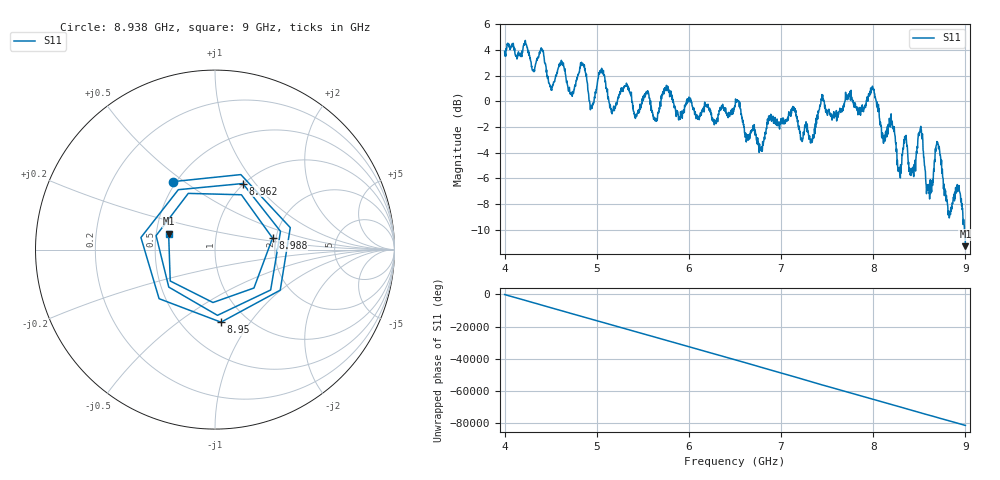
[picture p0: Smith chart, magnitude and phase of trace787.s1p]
! Created with skrf 1.8.0 (http://scikit-rf.org).
# Hz S RI R 50.0
!freq ReS11 ImS11
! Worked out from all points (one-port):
!   1601 points, 4 GHz to 9 GHz, reference 50 ohm
!   lowest |S11| = -11.3 dB at 9 GHz (marker M1), VSWR 1.75, Z = 29.1 + j5.55 ohm
!   |S11| at or under -10 dB: 8.989426 GHz to end of sweep
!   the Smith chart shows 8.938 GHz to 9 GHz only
!   S11 on the Smith chart (normalised r, x): 8.938 GHz: 0.48, +0.46; 8.95 GHz: 0.76, -0.74; 8.962 GHz: 0.99, +0.87; 8.988 GHz: 1.92, +0.28; 9 GHz: 0.58, +0.11
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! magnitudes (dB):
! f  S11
! 4 GHz  3.9
! 4.625 GHz  3.1
! 4.731 GHz  0.6
! 4.847 GHz  3.0
! 4.944 GHz  -0.3
! 5.047 GHz  2.2
! 5.166 GHz  -1.0
! 5.25 GHz  0.5
! 5.875 GHz  -0.8
! 6.5 GHz  -0.4
! 6.781 GHz  -3.8
! 7.125 GHz  -0.5
! 7.328 GHz  -3.1
! 7.444 GHz  0.5
! 7.75 GHz  0.8
! 7.997 GHz  1.0
! 8.284 GHz  -5.1
! 8.375 GHz  -4.3
! 8.425 GHz  -5.2
! 8.512 GHz  -2.1
! 8.6 GHz  -6.5
! 8.697 GHz  -3.2
! 8.822 GHz  -8.6
! 8.938 GHz  -7.0
! 8.95 GHz  -7.8
! 8.962 GHz  -8.0
! 8.988 GHz  -9.7
! 9 GHz  -11.3
